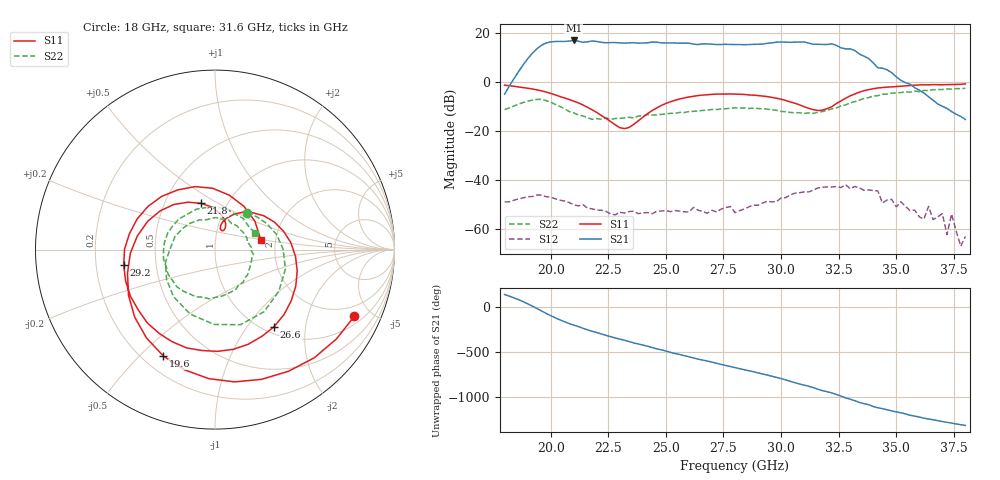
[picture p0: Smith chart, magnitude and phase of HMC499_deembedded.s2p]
!Hittite Microwave Corporation
!12 Elizabeth Drive
!Chelmsford, MA 01824
!Tel: 978-250-3343
!Fax: 978-250-3373
!Device: HMC499, 21-32 GHz, GaAS PHEMT MMIC Medium Power Amplifier
!Misc: Vdd = 5 V, data includes two (K) connectors, Room
# MHZ S MA R 50
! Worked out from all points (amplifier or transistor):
!   101 points, 18 GHz to 38 GHz, reference 50 ohm
!   highest |S21| = 16.9 dB at 21 GHz (marker M1)
!   |S21| within 3 dB of that: 19.46 GHz to 32.6 GHz (13.14 GHz wide, 50.5 % of centre)
!   unconditionally stable (mu >= 1): start of sweep to end of sweep
!   at 21.2 GHz: K = 20.26, MAG = 17.5 dB, |S12| = -50.5 dB
!   at 28 GHz: K = 24.52, MAG = 17.4 dB, |S12| = -53.3 dB
!   at 38 GHz: K = 300.92, MAG = -3.9 dB, |S12| = -63.0 dB
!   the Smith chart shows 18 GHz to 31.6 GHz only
!   S11 on the Smith chart (normalised r, x): 18 GHz: 1.38, -3.96; 19.6 GHz: 0.28, -0.59; 21.8 GHz: 0.75, +0.42; 26.6 GHz: 1.12, -1.35; 29.2 GHz: 0.32, -0.08; 31.6 GHz: 1.67, +0.20
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18000  0.861 -25.5  0.565 135.9  0.003572 -117.3  0.273 49.0
19000  0.745 -81.6  2.963 33.9  0.004578 -141.8  0.407 -15.6
19600  0.659 -115.9  5.591 -45.5  0.004933 -168.7  0.442 -71.3
20200  0.545 -152.2  6.682 -121.5  0.004141 164.5  0.35 -131.2
21000  0.407 157.3  7.026 157.5  0.003136 144.9  0.234 161.2
21400  0.34 132.3  6.423 122.8  0.003154 136.6  0.203 134.0
21800  0.27 107.0  6.868 89.5  0.002583 134.4  0.173 105.2
22600  0.156 67.5  6.355 30.0  0.002034 122.4  0.172 57.1
23200  0.112 70.1  6.212 -9.7  0.002116 125.2  0.185 30.5
24000  0.191 68.8  6.229 -62.9  0.002133 110.9  0.202 -2.1
24800  0.331 34.7  6.302 -115.3  0.002333 94.1  0.218 -26.8
25800  0.473 -14.5  6.187 179.4  0.002249 64.9  0.238 -56.8
26600  0.541 -52.5  6 130.8  0.002281 52.5  0.263 -82.6
28000  0.566 -115.1  5.796 47.6  0.002171 13.9  0.297 -135.7
29200  0.516 -170.3  5.928 -23.3  0.003401 -37.5  0.284 171.2
30200  0.42 135.2  6.491 -88.9  0.004376 -85.1  0.248 115.0
31400  0.273 35.4  5.873 -173.7  0.006215 -141.0  0.228 33.7
31600  0.261 12.4  5.874 167.9  0.006892 -148.9  0.242 22.6
32400  0.363 -79.8  5.579 110.0  0.007364 158.5  0.295 -27.2
33200  0.569 -150.3  4.383 41.5  0.007391 125.0  0.397 -78.4
34800  0.795 104.4  1.552 -71.1  0.004037 57.5  0.592 -172.6
38000  0.915 -44.7  0.172 127.4  0.0007054 -12.0  0.743 30.7
